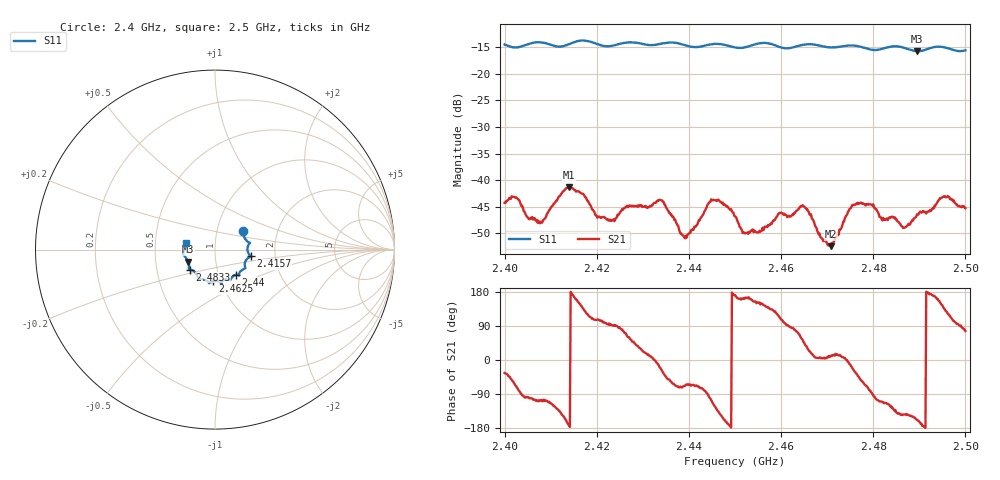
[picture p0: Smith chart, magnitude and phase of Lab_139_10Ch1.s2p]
# Hz S RI R 50
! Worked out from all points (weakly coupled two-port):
!   601 points, 2.4 GHz to 2.5 GHz, reference 50 ohm
!   highest |S21| = -41.26 dB at 2.414 GHz (marker M1); lowest = -52.4 dB at 2.4708 GHz (marker M2)
!   lowest |S11| = -15.7 dB at 2.4895 GHz (marker M3), VSWR 1.39, Z = 36.8 - j5.12 ohm
!   |S11| at or under -10 dB: start of sweep to end of sweep
!   S12 and S22 are empty: the file has one direction only
!   S11 on the Smith chart (normalised r, x): 2.4 GHz: 1.33, +0.29; 2.4157 GHz: 1.49, -0.12; 2.44 GHz: 1.21, -0.35; 2.4625 GHz: 0.92, -0.34; 2.4833 GHz: 0.74, -0.17; 2.5 GHz: 0.72, +0.05
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2.4e9  0.1566 0.1055  0.00507 -0.00344  0 0  0 0
2.4025e9  0.1638 0.0676  0.00242 -0.00648  0 0  0 0
2.407667e9  0.1947 0.0379  -0.00114 -0.00377  0 0  0 0
2.414e9  0.1887 -0.0247  -0.00858 -0.00112  0 0  0 0
2.415667e9  0.199 -0.037  -0.00737 0.00282  0 0  0 0
2.416667e9  0.202 -0.0401  -0.00595 0.00458  0 0  0 0
2.422833e9  0.1667 -0.0738  -0.000199 0.00427  0 0  0 0
2.433333e9  0.1345 -0.134  0.00638 -0.00131  0 0  0 0
2.44e9  0.1156 -0.14  0.00133 -0.00285  0 0  0 0
2.445e9  0.0856 -0.1699  -0.00223 -0.00613  0 0  0 0
2.45e9  0.0635 -0.1657  -0.00452 0.000703  0 0  0 0
2.452333e9  0.0427 -0.1732  -0.00309 0.000849  0 0  0 0
2.4625e9  -0.0108 -0.1768  0.000442 0.00476  0 0  0 0
2.464667e9  -0.0291 -0.185  0.00346 0.00469  0 0  0 0
2.466667e9  -0.0337 -0.1867  0.00422 0.00122  0 0  0 0
2.470833e9  -0.0565 -0.1679  0.00235 0.000485  0 0  0 0
2.475833e9  -0.093 -0.1595  0.00521 -0.00278  0 0  0 0
2.483333e9  -0.1398 -0.1114  -0.00203 -0.00388  0 0  0 0
2.486833e9  -0.1448 -0.0986  -0.00291 -0.00212  0 0  0 0
2.4895e9  -0.1486 -0.0677  -0.00444 -0.00179  0 0  0 0
2.495667e9  -0.1759 -0.017  -0.0045 0.00529  0 0  0 0
2.5e9  -0.1625 0.0371  0.00127 0.00531  0 0  0 0
